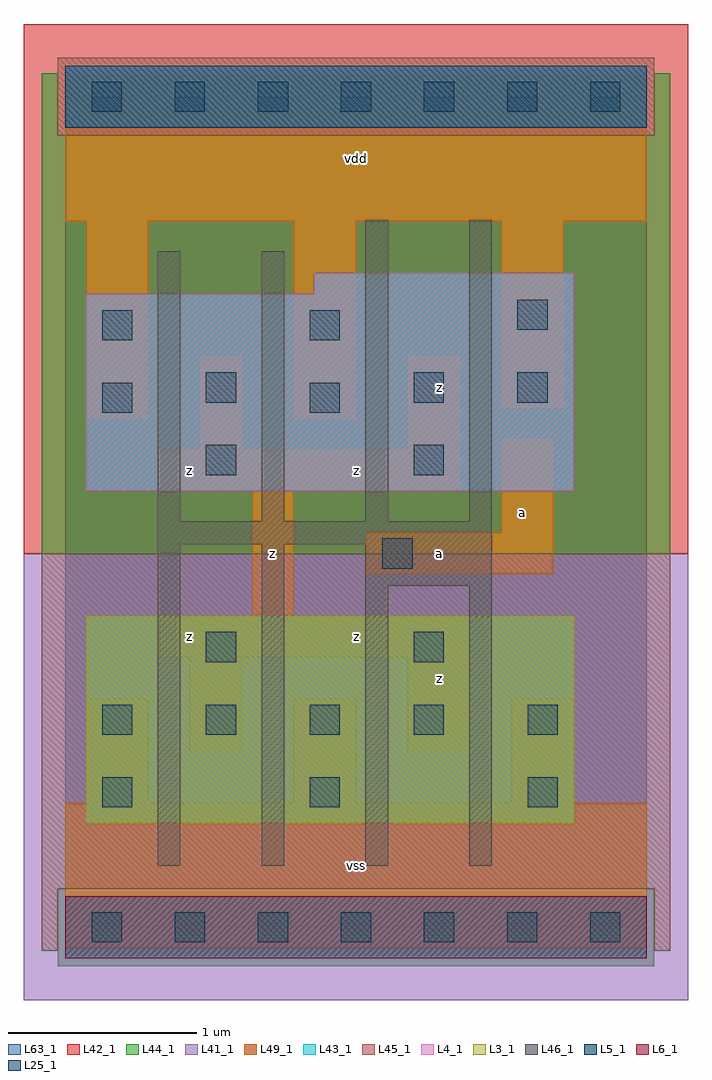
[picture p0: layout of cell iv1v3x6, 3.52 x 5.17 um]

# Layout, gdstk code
import gdstk
lib = gdstk.Library(unit=1e-6, precision=1e-09)
def R(c, l, rs):  # rectangles x0, y0, x1, y1
    for r in rs: c.add(gdstk.rectangle(r[:2], r[2:], *l))
def A(c, l, x, y, w, h, nx, ny, dx, dy):  # array of equal rectangles
    R(c, l, [(x+i*dx, y+j*dy, x+i*dx+w, y+j*dy+h) for i in range(nx) for j in range(ny)])
L3_1 = (3, 1)
L4_1 = (4, 1)
L5_1 = (5, 1)
L6_1 = (6, 1)
L25_1 = (25, 1)
L41_1 = (41, 1)
L42_1 = (42, 1)
L43_1 = (43, 1)
L44_1 = (44, 1)
L45_1 = (45, 1)
L46_1 = (46, 1)
L49_1 = (49, 1)
L63_1 = (63, 1)

iv1v3x6 = lib.new_cell('iv1v3x6')
R(iv1v3x6, L3_1, [(0.11,0.55,2.695,1.65)])
R(iv1v3x6, L4_1, [(0.11,2.31,2.695,3.355), (1.32,3.355,2.695,3.465)])
R(iv1v3x6, L5_1, [(0,4.235,3.08,4.565)])
R(iv1v3x6, L6_1, [(0,-0.165,3.08,0.165)])
A(iv1v3x6, L25_1, 0.14, -0.08, 0.16, 0.16, 7, 2, 0.44, 4.4)
A(iv1v3x6, L25_1, 0.195, 1.02, 0.16, 0.16, 4, 1, 0.55, 0)
R(iv1v3x6, L25_1, [(0.195,0.635,0.355,0.795), (1.295,0.635,1.455,0.795), (2.45,0.635,2.61,0.795), (2.45,1.02,2.61,1.18), (0.745,1.405,0.905,1.565), (1.845,1.405,2.005,1.565), (1.68,1.9,1.84,2.06), (0.745,2.395,0.905,2.555), (1.845,2.395,2.005,2.555), (0.195,2.725,0.355,2.885), (1.295,2.725,1.455,2.885), (0.745,2.78,0.905,2.94), (1.845,2.78,2.005,2.94), (2.395,2.78,2.555,2.94), (0.195,3.11,0.355,3.27), (1.295,3.11,1.455,3.27), (2.395,3.165,2.555,3.325)])
R(iv1v3x6, L41_1, [(-0.22,-0.385,3.3,1.98)])
R(iv1v3x6, L42_1, [(-0.22,1.98,3.3,4.785)])
R(iv1v3x6, L43_1, [(0,-0.165,3.08,0.165), (0.11,0.55,2.695,1.65), (0.11,2.31,2.695,3.355), (1.32,3.355,2.695,3.465), (0,4.235,3.08,4.565)])
R(iv1v3x6, L44_1, [(-0.04,-0.205,3.12,0.205), (-0.125,1.98,3.205,4.195), (-0.125,4.195,-0.04,4.525), (3.12,4.195,3.205,4.525)])
R(iv1v3x6, L45_1, [(-0.125,-0.125,-0.04,0.205), (3.12,-0.125,3.205,0.205), (-0.125,0.205,3.205,1.98), (-0.04,4.195,3.12,4.605)])
R(iv1v3x6, L46_1, [(0.49,0.325,0.61,2.03), (1.04,0.325,1.16,2.03), (1.59,0.325,1.71,1.81), (2.14,0.325,2.26,1.81), (1.59,1.81,2.26,2.03), (0.49,2.03,2.26,2.15), (0.49,2.15,0.61,3.58), (1.04,2.15,1.16,3.58), (1.59,2.15,1.71,3.745), (2.14,2.15,2.26,3.745)])
R(iv1v3x6, L49_1, [(0,-0.11,3.08,0.66), (0.11,0.66,0.44,1.21), (1.21,0.66,1.54,1.21), (2.365,0.66,2.695,1.21), (0.66,0.935,0.935,1.43), (1.815,0.935,2.145,1.43), (0.495,1.43,2.145,1.65), (0.99,1.65,1.21,2.31), (1.595,1.87,2.585,2.09), (2.31,2.09,2.585,2.585), (0.495,2.31,2.09,2.53), (0.715,2.53,0.935,3.025), (1.815,2.53,2.09,3.025), (0.11,2.695,0.44,3.74), (1.21,2.695,1.54,3.74), (2.31,2.75,2.64,3.74), (0,3.74,3.08,4.51)])
R(iv1v3x6, L63_1, [(0,0,3.08,4.4)])
iv1v3x6.add(gdstk.Label('z', (0.66,1.54), layer=49, texttype=1))
iv1v3x6.add(gdstk.Label('z', (1.1,1.98), layer=49, texttype=1))
iv1v3x6.add(gdstk.Label('z', (0.66,2.42), layer=49, texttype=1))
iv1v3x6.add(gdstk.Label('vss', (1.54,0.33), layer=49, texttype=1))
iv1v3x6.add(gdstk.Label('z', (1.54,1.54), layer=49, texttype=1))
iv1v3x6.add(gdstk.Label('a', (1.98,1.98), layer=49, texttype=1))
iv1v3x6.add(gdstk.Label('z', (1.98,1.32), layer=49, texttype=1))
iv1v3x6.add(gdstk.Label('z', (1.54,2.42), layer=49, texttype=1))
iv1v3x6.add(gdstk.Label('z', (1.98,2.86), layer=49, texttype=1))
iv1v3x6.add(gdstk.Label('vdd', (1.54,4.07), layer=49, texttype=1))
iv1v3x6.add(gdstk.Label('a', (2.42,2.2), layer=49, texttype=1))

lib.write_gds('iv1v3x6.gds')
